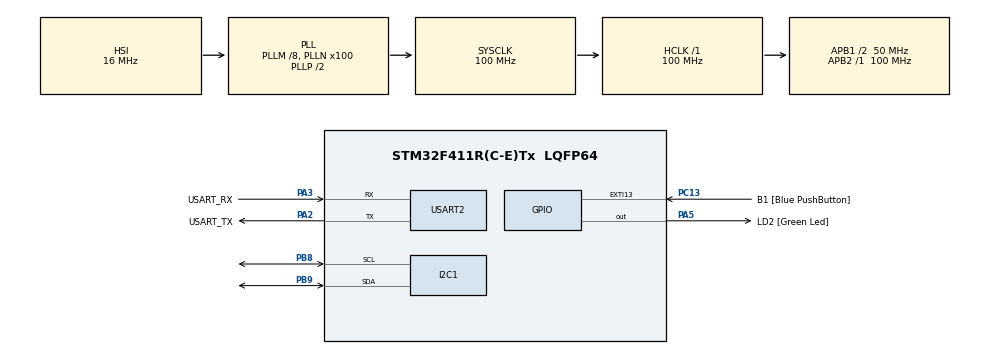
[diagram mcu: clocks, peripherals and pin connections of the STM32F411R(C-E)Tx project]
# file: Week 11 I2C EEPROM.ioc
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Dma.I2C1_RX.0.Direction=DMA_PERIPH_TO_MEMORY
Dma.I2C1_RX.0.FIFOMode=DMA_FIFOMODE_DISABLE
Dma.I2C1_RX.0.Instance=DMA1_Stream0
Dma.I2C1_RX.0.MemDataAlignment=DMA_MDATAALIGN_BYTE
Dma.I2C1_RX.0.MemInc=DMA_MINC_ENABLE
Dma.I2C1_RX.0.Mode=DMA_NORMAL
Dma.I2C1_RX.0.PeriphDataAlignment=DMA_PDATAALIGN_BYTE
Dma.I2C1_RX.0.PeriphInc=DMA_PINC_DISABLE
Dma.I2C1_RX.0.Priority=DMA_PRIORITY_LOW
Dma.I2C1_TX.1.Direction=DMA_MEMORY_TO_PERIPH
Dma.I2C1_TX.1.FIFOMode=DMA_FIFOMODE_DISABLE
Dma.I2C1_TX.1.Instance=DMA1_Stream1
Dma.I2C1_TX.1.MemDataAlignment=DMA_MDATAALIGN_BYTE
Dma.I2C1_TX.1.MemInc=DMA_MINC_ENABLE
Dma.I2C1_TX.1.Mode=DMA_NORMAL
Dma.I2C1_TX.1.PeriphDataAlignment=DMA_PDATAALIGN_BYTE
Dma.I2C1_TX.1.PeriphInc=DMA_PINC_DISABLE
Dma.I2C1_TX.1.Priority=DMA_PRIORITY_LOW
Dma.Request0=I2C1_RX
Dma.Request1=I2C1_TX
I2C1.I2C_Mode=I2C_Fast
Mcu.Family=STM32F4
Mcu.Name=STM32F411R(C-E)Tx
Mcu.Package=LQFP64
NVIC.DMA1_Stream0_IRQn=true\:0\:0\:false\:false\:true\:false\:true\:true
NVIC.DMA1_Stream1_IRQn=true\:0\:0\:false\:false\:true\:false\:true\:true
NVIC.I2C1_ER_IRQn=true\:0\:0\:false\:false\:true\:true\:true\:true
NVIC.I2C1_EV_IRQn=true\:0\:0\:false\:false\:true\:true\:true\:true
NVIC.PriorityGroup=NVIC_PRIORITYGROUP_0
PA13.GPIO_Label=TMS
PA13.Mode=Serial_Wire
PA13.Signal=SYS_JTMS-SWDIO
PA14.GPIO_Label=TCK
PA14.Mode=Serial_Wire
PA14.Signal=SYS_JTCK-SWCLK
PA2.GPIO_Label=USART_TX
PA2.Mode=Asynchronous
PA2.Signal=USART2_TX
PA3.GPIO_Label=USART_RX
PA3.Mode=Asynchronous
PA3.Signal=USART2_RX
PA5.GPIO_Label=LD2 [Green Led]
PA5.Signal=GPIO_Output
PB3.GPIO_Label=SWO
PB3.Signal=SYS_JTDO-SWO
PB8.Mode=I2C
PB8.Signal=I2C1_SCL
PB9.Mode=I2C
PB9.Signal=I2C1_SDA
PC13-ANTI_TAMP.GPIO_Label=B1 [Blue PushButton]
PC13-ANTI_TAMP.GPIO_ModeDefaultEXTI=GPIO_MODE_IT_FALLING
PC13-ANTI_TAMP.Signal=GPXTI13
PC14-OSC32_IN.Mode=LSE-External-Oscillator
PC14-OSC32_IN.Signal=RCC_OSC32_IN
PC15-OSC32_OUT.Mode=LSE-External-Oscillator
PC15-OSC32_OUT.Signal=RCC_OSC32_OUT
PH0\ -\ OSC_IN.Mode=HSE-External-Clock-Source
PH0\ -\ OSC_IN.Signal=RCC_OSC_IN
PH1\ -\ OSC_OUT.Mode=HSE-External-Clock-Source
PH1\ -\ OSC_OUT.Signal=RCC_OSC_OUT
ProjectManager.HeapSize=0x200
ProjectManager.StackSize=0x400
ProjectManager.TargetToolchain=STM32CubeIDE
RCC.48MHZClocksFreq_Value=50000000
RCC.AHBFreq_Value=100000000
RCC.APB1CLKDivider=RCC_HCLK_DIV2
RCC.APB1Freq_Value=50000000
RCC.APB1TimFreq_Value=100000000
RCC.APB2Freq_Value=100000000
RCC.APB2TimFreq_Value=100000000
RCC.CortexFreq_Value=100000000
RCC.FLatency-AdvancedSettings=FLASH_LATENCY_3
RCC.HCLKFreq_Value=100000000
RCC.HSE_VALUE=8000000
RCC.HSI_VALUE=16000000
RCC.PLLM=8
RCC.PLLN=100
RCC.SYSCLKFreq_VALUE=100000000
RCC.SYSCLKSource=RCC_SYSCLKSOURCE_PLLCLK
RCC.VCOOutputFreq_Value=200000000
USART2.VirtualMode=VM_ASYNC
board=NUCLEO-F411RE

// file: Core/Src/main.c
/* USER CODE BEGIN Header */
/**
  ******************************************************************************
  * @file           : main.c
  * @brief          : Main program body
  ******************************************************************************
  * @attention
  *
  * Copyright (c) 2023 STMicroelectronics.
  * All rights reserved.
  *
  * This software is licensed under terms that can be found in the LICENSE file
  * in the root directory of this software component.
  * If no LICENSE file comes with this software, it is provided AS-IS.
  *
  ******************************************************************************
  */
/* USER CODE END Header */
#include "main.h"

/* USER CODE BEGIN PD */

#define EEPROM_ADDR 0b10100000

/* USER CODE END PD */

I2C_HandleTypeDef hi2c1;
DMA_HandleTypeDef hdma_i2c1_rx;
DMA_HandleTypeDef hdma_i2c1_tx;

UART_HandleTypeDef huart2;

/* USER CODE BEGIN PV */

uint8_t eepromExampleWriteFlag = 0;
uint8_t eepromExampleReadFlag = 0;
uint8_t eepromDataReadBack[4];

/* USER CODE END PV */

void SystemClock_Config(void);
static void MX_GPIO_Init(void);
static void MX_DMA_Init(void);
static void MX_USART2_UART_Init(void);
static void MX_I2C1_Init(void);
/* USER CODE BEGIN PFP */

void EEPROMWriteExample();
void EEPROMReadExample(uint8_t *Rdata, uint16_t len);

/* USER CODE END PFP */

int main(void)
{

  /* MCU Configuration--------------------------------------------------------*/

  /* Reset of all peripherals, Initializes the Flash interface and the Systick. */
  HAL_Init();

  /* Configure the system clock */
  SystemClock_Config();

  /* Initialize all configured peripherals */
  MX_GPIO_Init();
  MX_DMA_Init();
  MX_USART2_UART_Init();
  MX_I2C1_Init();

  /* Infinite loop */
  /* USER CODE BEGIN WHILE */
  while (1)
  {
	  EEPROMWriteExample();
	  EEPROMReadExample(eepromDataReadBack, 4);
    /* USER CODE END WHILE */

  }
}

void SystemClock_Config(void)
{
  RCC_OscInitTypeDef RCC_OscInitStruct = {0};
  RCC_ClkInitTypeDef RCC_ClkInitStruct = {0};

  /** Configure the main internal regulator output voltage
  */
  __HAL_RCC_PWR_CLK_ENABLE();
  __HAL_PWR_VOLTAGESCALING_CONFIG(PWR_REGULATOR_VOLTAGE_SCALE1);

  /** Initializes the RCC Oscillators according to the specified parameters
  * in the RCC_OscInitTypeDef structure.
  */
  RCC_OscInitStruct.OscillatorType = RCC_OSCILLATORTYPE_HSI;
  RCC_OscInitStruct.HSIState = RCC_HSI_ON;
  RCC_OscInitStruct.HSICalibrationValue = RCC_HSICALIBRATION_DEFAULT;
  RCC_OscInitStruct.PLL.PLLState = RCC_PLL_ON;
  RCC_OscInitStruct.PLL.PLLSource = RCC_PLLSOURCE_HSI;
  RCC_OscInitStruct.PLL.PLLM = 8;
  RCC_OscInitStruct.PLL.PLLN = 100;
  RCC_OscInitStruct.PLL.PLLP = RCC_PLLP_DIV2;
  RCC_OscInitStruct.PLL.PLLQ = 4;
  if (HAL_RCC_OscConfig(&RCC_OscInitStruct) != HAL_OK)
  {
    Error_Handler();
  }

  /** Initializes the CPU, AHB and APB buses clocks
  */
  RCC_ClkInitStruct.ClockType = RCC_CLOCKTYPE_HCLK|RCC_CLOCKTYPE_SYSCLK
                              |RCC_CLOCKTYPE_PCLK1|RCC_CLOCKTYPE_PCLK2;
  RCC_ClkInitStruct.SYSCLKSource = RCC_SYSCLKSOURCE_PLLCLK;
  RCC_ClkInitStruct.AHBCLKDivider = RCC_SYSCLK_DIV1;
  RCC_ClkInitStruct.APB1CLKDivider = RCC_HCLK_DIV2;
  RCC_ClkInitStruct.APB2CLKDivider = RCC_HCLK_DIV1;

  if (HAL_RCC_ClockConfig(&RCC_ClkInitStruct, FLASH_LATENCY_3) != HAL_OK)
  {
    Error_Handler();
  }
}

static void MX_I2C1_Init(void)
{

  hi2c1.Instance = I2C1;
  hi2c1.Init.ClockSpeed = 400000;
  hi2c1.Init.DutyCycle = I2C_DUTYCYCLE_2;
  hi2c1.Init.OwnAddress1 = 0;
  hi2c1.Init.AddressingMode = I2C_ADDRESSINGMODE_7BIT;
  hi2c1.Init.DualAddressMode = I2C_DUALADDRESS_DISABLE;
  hi2c1.Init.OwnAddress2 = 0;
  hi2c1.Init.GeneralCallMode = I2C_GENERALCALL_DISABLE;
  hi2c1.Init.NoStretchMode = I2C_NOSTRETCH_DISABLE;
  if (HAL_I2C_Init(&hi2c1) != HAL_OK)
  {
    Error_Handler();
  }

}

static void MX_USART2_UART_Init(void)
{

  huart2.Instance = USART2;
  huart2.Init.BaudRate = 115200;
  huart2.Init.WordLength = UART_WORDLENGTH_8B;
  huart2.Init.StopBits = UART_STOPBITS_1;
  huart2.Init.Parity = UART_PARITY_NONE;
  huart2.Init.Mode = UART_MODE_TX_RX;
  huart2.Init.HwFlowCtl = UART_HWCONTROL_NONE;
  huart2.Init.OverSampling = UART_OVERSAMPLING_16;
  if (HAL_UART_Init(&huart2) != HAL_OK)
  {
    Error_Handler();
  }

}

static void MX_DMA_Init(void)
{

  /* DMA controller clock enable */
  __HAL_RCC_DMA1_CLK_ENABLE();

  /* DMA interrupt init */
  /* DMA1_Stream0_IRQn interrupt configuration */
  HAL_NVIC_SetPriority(DMA1_Stream0_IRQn, 0, 0);
  HAL_NVIC_EnableIRQ(DMA1_Stream0_IRQn);
  /* DMA1_Stream1_IRQn interrupt configuration */
  HAL_NVIC_SetPriority(DMA1_Stream1_IRQn, 0, 0);
  HAL_NVIC_EnableIRQ(DMA1_Stream1_IRQn);

}

static void MX_GPIO_Init(void)
{
  GPIO_InitTypeDef GPIO_InitStruct = {0};

  /* GPIO Ports Clock Enable */
  __HAL_RCC_GPIOC_CLK_ENABLE();
  __HAL_RCC_GPIOH_CLK_ENABLE();
  __HAL_RCC_GPIOA_CLK_ENABLE();
  __HAL_RCC_GPIOB_CLK_ENABLE();

  /*Configure GPIO pin Output Level */
  HAL_GPIO_WritePin(LD2_GPIO_Port, LD2_Pin, GPIO_PIN_RESET);

  /*Configure GPIO pin : B1_Pin */
  GPIO_InitStruct.Pin = B1_Pin;
  GPIO_InitStruct.Mode = GPIO_MODE_IT_FALLING;
  GPIO_InitStruct.Pull = GPIO_NOPULL;
  HAL_GPIO_Init(B1_GPIO_Port, &GPIO_InitStruct);

  /*Configure GPIO pin : LD2_Pin */
  GPIO_InitStruct.Pin = LD2_Pin;
  GPIO_InitStruct.Mode = GPIO_MODE_OUTPUT_PP;
  GPIO_InitStruct.Pull = GPIO_NOPULL;
  GPIO_InitStruct.Speed = GPIO_SPEED_FREQ_LOW;
  HAL_GPIO_Init(LD2_GPIO_Port, &GPIO_InitStruct);

}

/* USER CODE BEGIN 4 */

void EEPROMWriteExample(){
	if(eepromExampleWriteFlag && hi2c1.State == HAL_I2C_STATE_READY){
		static uint8_t data[4] = {0xFF, 0x00, 0x55, 0xAA};
		HAL_I2C_Mem_Write_IT(&hi2c1, EEPROM_ADDR, 0x2C, I2C_MEMADD_SIZE_16BIT, data, 4);
		eepromExampleWriteFlag = 0;
	}
}

void EEPROMReadExample(uint8_t *Rdata, uint16_t len){
	if(eepromExampleReadFlag && hi2c1.State == HAL_I2C_STATE_READY){
		HAL_I2C_Mem_Read_IT(&hi2c1, EEPROM_ADDR, 0x2C, I2C_MEMADD_SIZE_16BIT, Rdata, len);
		eepromExampleReadFlag = 0;
	}
}

/* USER CODE END 4 */

void Error_Handler(void)
{
  __disable_irq();
  while (1)
  {
  }
}
